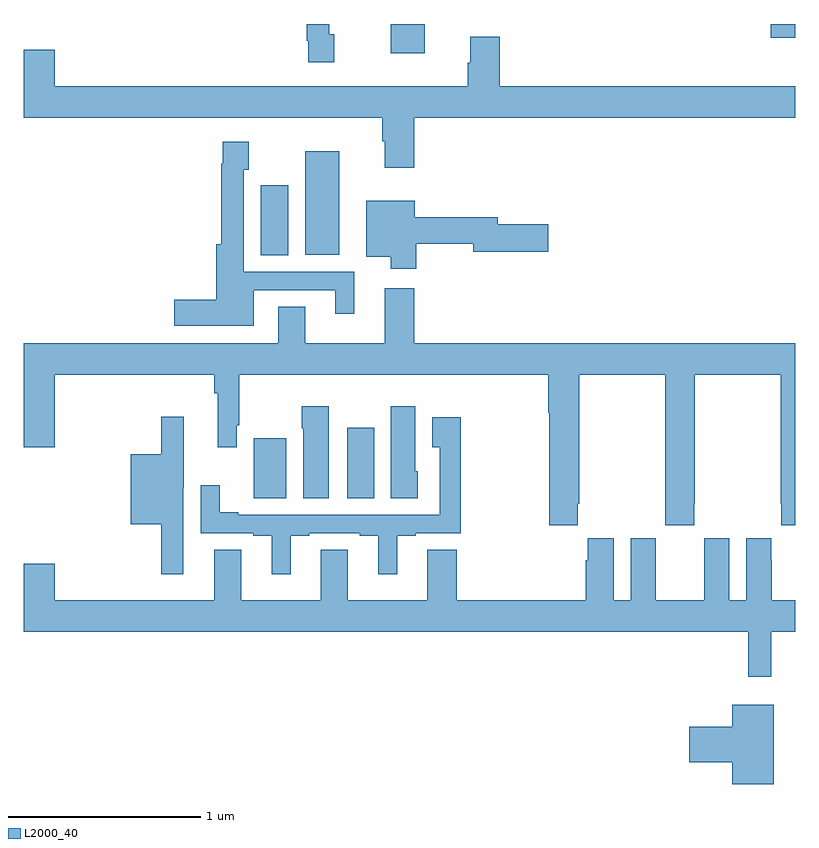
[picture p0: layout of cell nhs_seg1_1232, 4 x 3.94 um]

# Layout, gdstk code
import gdstk
lib = gdstk.Library(unit=1e-6, precision=1e-09)
def R(c, l, rs):  # rectangles x0, y0, x1, y1
    for r in rs: c.add(gdstk.rectangle(r[:2], r[2:], *l))
def P(c, l, *ps):  # polygons
    for p in ps: c.add(gdstk.Polygon(p, *l))
L2000_40 = (2000, 40)

nhs_seg1_1232 = lib.new_cell('nhs_seg1_1232')
R(nhs_seg1_1232, L2000_40, [(178.193,569.74,178.36,570.052), (178.676,569.74,178.816,570.106), (178.229,571,178.372,571.363), (178.46,571.004,178.636,571.54), (178.904,572.048,179.08,572.199), (180.872,572.127,181,572.199)])
P(nhs_seg1_1232, L2000_40, [(178.611,572.145),(178.584,572.145),(178.584,572.199),(178.468,572.199),(178.468,572.113),(178.476,572.113),(178.476,572.001),(178.611,572.001)],
  [(179.024,571.712),(181,571.712),(181,571.876),(179.468,571.876),(179.468,572.134),(179.315,572.134),(179.315,571.997),(179.303,571.997),(179.303,571.876),(177.16,571.876),(177.16,572.065),(177,572.065),(177,571.712),(178.859,571.712),(178.859,571.592),(178.871,571.592),(178.871,571.455),(179.024,571.455)],
  [(178.192,570.819),(178.616,570.819),(178.616,570.696),(178.714,570.696),(178.714,570.915),(178.14,570.915),(178.14,571.443),(178.167,571.443),(178.167,571.588),(178.032,571.588),(178.032,571.475),(178.024,571.475),(178.024,571.057),(177.998,571.057),(177.998,570.77),(177.78,570.77),(177.78,570.635),(178.192,570.635)],
  [(179.034,571.06),(179.33,571.06),(179.33,571.018),(179.719,571.018),(179.719,571.16),(179.458,571.16),(179.458,571.196),(179.026,571.196),(179.026,571.282),(178.775,571.282),(178.775,570.992),(178.904,570.992),(178.904,570.93),(179.034,570.93)],
  [(178.871,570.829),(178.871,570.544),(178.459,570.544),(178.459,570.734),(178.319,570.734),(178.319,570.544),(177,570.544),(177,570.006),(177.16,570.006),(177.16,570.38),(177.988,570.38),(177.988,570.284),(178.007,570.284),(178.007,570.006),(178.104,570.006),(178.104,570.118),(178.117,570.118),(178.117,570.38),(179.72,570.38),(179.72,570.184),(179.725,570.184),(179.725,569.601),(179.873,569.601),(179.873,569.713),(179.88,569.713),(179.88,570.38),(180.325,570.38),(180.325,569.713),(180.327,569.713),(180.327,569.601),(180.477,569.601),(180.477,569.713),(180.48,569.713),(180.48,570.38),(180.925,570.38),(180.925,569.713),(180.927,569.713),(180.927,569.601),(181,569.601),(181,570.544),(179.024,570.544),(179.024,570.829)],
  [(178.582,570.217),(178.441,570.217),(178.441,570.104),(178.448,570.104),(178.448,569.74),(178.582,569.74)],
  [(179.044,569.88),(179.029,569.88),(179.029,570.217),(178.904,570.217),(178.904,569.74),(179.044,569.74)],
  [(177.828,569.796),(177.83,569.796),(177.83,570.163),(177.712,570.163),(177.712,569.968),(177.554,569.968),(177.554,569.606),(177.712,569.606),(177.712,569.346),(177.828,569.346)],
  [(178.384,569.547),(178.48,569.547),(178.48,569.559),(178.742,569.559),(178.742,569.547),(178.838,569.547),(178.838,569.346),(178.936,569.346),(178.936,569.547),(179.032,569.547),(179.032,569.559),(179.266,569.559),(179.266,570.16),(179.117,570.16),(179.117,570.004),(179.157,570.004),(179.157,569.655),(178.111,569.655),(178.111,569.668),(178.015,569.668),(178.015,569.809),(177.918,569.809),(177.918,569.559),(178.19,569.559),(178.19,569.547),(178.286,569.547),(178.286,569.346),(178.384,569.346)],
  [(180.875,569.048),(181,569.048),(181,569.212),(180.877,569.212),(180.877,569.42),(180.876,569.42),(180.876,569.533),(180.746,569.533),(180.746,569.212),(180.658,569.212),(180.658,569.533),(180.528,569.533),(180.528,569.42),(180.527,569.42),(180.527,569.212),(180.277,569.212),(180.277,569.42),(180.276,569.42),(180.276,569.533),(180.146,569.533),(180.146,569.212),(180.058,569.212),(180.058,569.533),(179.924,569.533),(179.924,569.42),(179.915,569.42),(179.915,569.212),(179.246,569.212),(179.246,569.474),(179.093,569.474),(179.093,569.212),(178.681,569.212),(178.681,569.474),(178.541,569.474),(178.541,569.212),(178.129,569.212),(178.129,569.474),(177.989,569.474),(177.989,569.212),(177.16,569.212),(177.16,569.401),(177,569.401),(177,569.048),(180.757,569.048),(180.757,568.815),(180.875,568.815)],
  [(180.889,568.669),(180.674,568.669),(180.674,568.556),(180.45,568.556),(180.45,568.373),(180.674,568.373),(180.674,568.259),(180.889,568.259)])

lib.write_gds('nhs_seg1_1232.gds')
